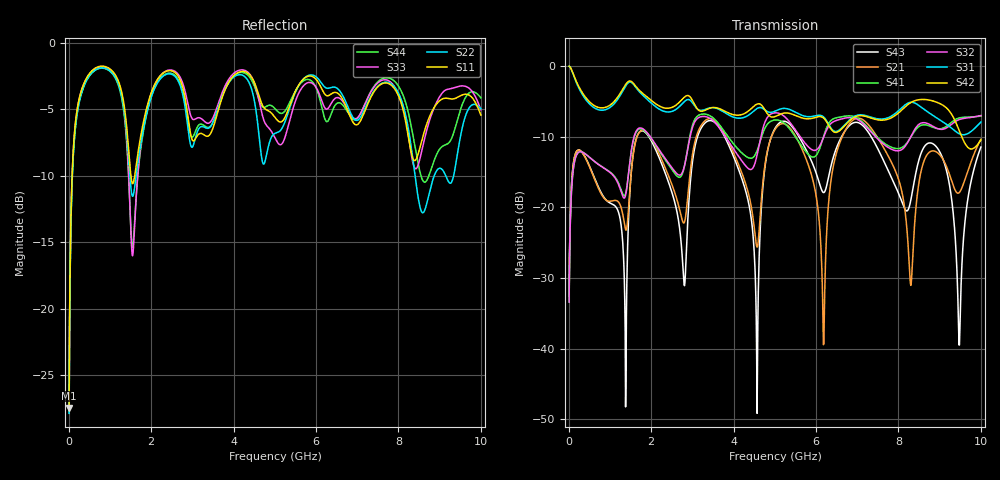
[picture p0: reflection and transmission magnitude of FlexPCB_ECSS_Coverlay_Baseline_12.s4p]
! TOUCHSTONE file generated by CST MICROWAVE STUDIO
! Date and time: Sun Jul  5 19:09:38 2026
! Project name: FlexPCB_ECSS_Coverlay_Baseline.cst
! Parameters = {Gap=0.6; GroundW=5.8; Hadh=0.025; Hcov=0.025; Hsub=0.1; L=50; Tcu=0.035; W=0.22}
! Header version: 2024
! Port assignment regex: !\s*Touchstone port\s*([0-9]+)\s*=\s*(CST MWS port|CST DES external port|CST DES block port)\s*(.+)\s* \(\"(.*)\"\)(\s*mode\s*([0-9]+))?.*
! Touchstone port assignment:
! Touchstone port 1 = CST MWS port 1 ("")
! Touchstone port 2 = CST MWS port 2 ("")
! Touchstone port 3 = CST MWS port 3 ("")
! Touchstone port 4 = CST MWS port 4 ("")
# GHz S MA R 50
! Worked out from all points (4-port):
!   1002 points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, 10 MHz to 10 GHz, reference 50 ohm
!   strongest paths, dB at 10 MHz, 2.51 GHz, 5.01 GHz, 7.503 GHz, 10 GHz:
!     S42: 0.0, -5.8, -7.1, -7.6, -10.5
!     S31: 0.0, -6.4, -6.4, -7.5, -7.9
!     S32: -33.4, -14.4, -6.6, -10.4, -7.0
!     S41: -33.4, -14.7, -7.6, -10.2, -7.1
!     S21: -32.6, -16.9, -8.9, -10.2, -10.4
!     S43: -32.6, -18.0, -8.8, -11.8, -11.5
!   lowest |S11| = -27.5 dB at 10 MHz (marker M1), VSWR 1.09, Z = 49.7 - j4.21 ohm
!   |S11| at or under -10 dB: start of sweep to 83.11 MHz; 1.51 GHz to 1.602 GHz (92.08 MHz wide, 5.92 % of centre)
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0.01  0.04239 -92.3  0.02354 84.8  0.9975 -2.9  0.02137 84.8
      0.02354 84.8  0.04044 -92.1  0.02137 84.8  0.9976 -2.8
      0.9975 -2.9  0.02137 84.8  0.04238 -92.3  0.02354 84.8
      0.02137 84.8  0.9976 -2.8  0.02354 84.8  0.04043 -92.2
1.53  0.301 165.7  0.1925 60.3  0.7625 -170.3  0.2604 -102.2
      0.1925 60.3  0.2699 163.8  0.2642 -100.9  0.7736 -171.1
      0.7625 -170.3  0.2642 -100.9  0.1664 157.0  0.195 87.0
      0.2604 -102.2  0.7736 -171.1  0.195 87.0  0.1754 160.1
2.99  0.4346 164.0  0.223 110.5  0.5553 29.8  0.3699 104.5
      0.223 110.5  0.405 169.2  0.3573 101.1  0.5792 24.1
      0.5553 29.8  0.3573 101.1  0.5205 168.4  0.1964 98.3
      0.3699 104.5  0.5792 24.1  0.1964 98.3  0.442 171.8
4.56  0.6743 164.9  0.05298 -143.8  0.4987 -124.9  0.2472 -77.9
      0.05298 -143.8  0.5348 148.9  0.2273 -63.9  0.5362 -132.0
      0.4987 -124.9  0.2273 -63.9  0.6623 155.3  0.00915 -49.2
      0.2472 -77.9  0.5362 -132.0  0.00915 -49.2  0.6504 165.1
8.82  0.5555 -174.3  0.2507 -47.9  0.4504 125.7  0.3698 -178.0
      0.2507 -47.9  0.3008 -178.0  0.3767 179.3  0.5677 123.2
      0.4504 125.7  0.3767 179.3  0.5475 -171.5  0.2833 -41.9
      0.3698 -178.0  0.5677 123.2  0.2833 -41.9  0.3446 -179.4
9.48  0.6303 174.3  0.1276 140.5  0.331 61.0  0.4296 113.7
      0.1276 140.5  0.4244 -151.2  0.4184 113.5  0.3461 31.3
      0.331 61.0  0.4184 113.5  0.6879 170.7  0.01061 130.3
      0.4296 113.7  0.3461 31.3  0.01061 130.3  0.5459 -165.4
10  0.5354 161.8  0.3036 29.0  0.4012 18.8  0.4422 50.0
    0.3036 29.0  0.5655 -173.6  0.4464 50.3  0.299 9.7
    0.4012 18.8  0.4464 50.3  0.5604 155.6  0.267 8.9
    0.4422 50.0  0.299 9.7  0.267 8.9  0.622 173.8
